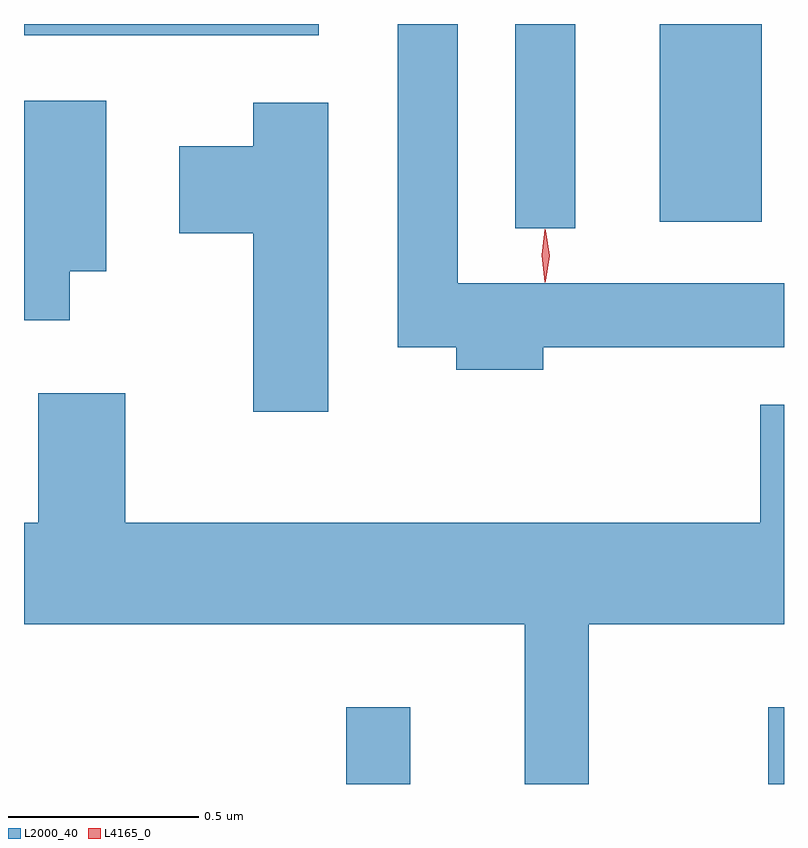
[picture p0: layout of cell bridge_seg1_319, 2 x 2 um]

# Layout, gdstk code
import gdstk
lib = gdstk.Library(unit=1e-6, precision=1e-09)
def R(c, l, rs):  # rectangles x0, y0, x1, y1
    for r in rs: c.add(gdstk.rectangle(r[:2], r[2:], *l))
def P(c, l, *ps):  # polygons
    for p in ps: c.add(gdstk.Polygon(p, *l))
L2000_40 = (2000, 40)
L4165_0 = (4165, 0)

bridge_seg1_319 = lib.new_cell('bridge_seg1_319')
R(bridge_seg1_319, L2000_40, [(883.021,872.516,883.189,872.718), (884.131,872.516,884.173,872.718), (883.466,873.978,883.624,874.516), (883.846,873.996,884.114,874.516), (882.173,874.486,882.949,874.516)])
P(bridge_seg1_319, L2000_40, [(883.539,873.666),(884.173,873.666),(884.173,873.834),(883.314,873.834),(883.314,874.516),(883.156,874.516),(883.156,873.666),(883.311,873.666),(883.311,873.606),(883.539,873.606)],
  [(882.294,873.866),(882.389,873.866),(882.389,874.314),(882.173,874.314),(882.173,873.736),(882.294,873.736)],
  [(882.974,874.309),(882.776,874.309),(882.776,874.194),(882.581,874.194),(882.581,873.966),(882.776,873.966),(882.776,873.496),(882.974,873.496)],
  [(883.659,872.936),(884.173,872.936),(884.173,873.514),(884.111,873.514),(884.111,873.204),(882.439,873.204),(882.439,873.544),(882.211,873.544),(882.211,873.204),(882.173,873.204),(882.173,872.936),(883.491,872.936),(883.491,872.516),(883.659,872.516)])
P(bridge_seg1_319, L4165_0, [(883.544,873.837),(883.535,873.907),(883.544,873.976),(883.545,873.976),(883.545,873.976),(883.555,873.907),(883.545,873.837),(883.545,873.837)],
  [(883.546,873.839),(883.545,873.84),(883.536,873.906),(883.545,873.972),(883.546,873.973),(883.546,873.972),(883.556,873.906),(883.546,873.84)])

lib.write_gds('bridge_seg1_319.gds')
